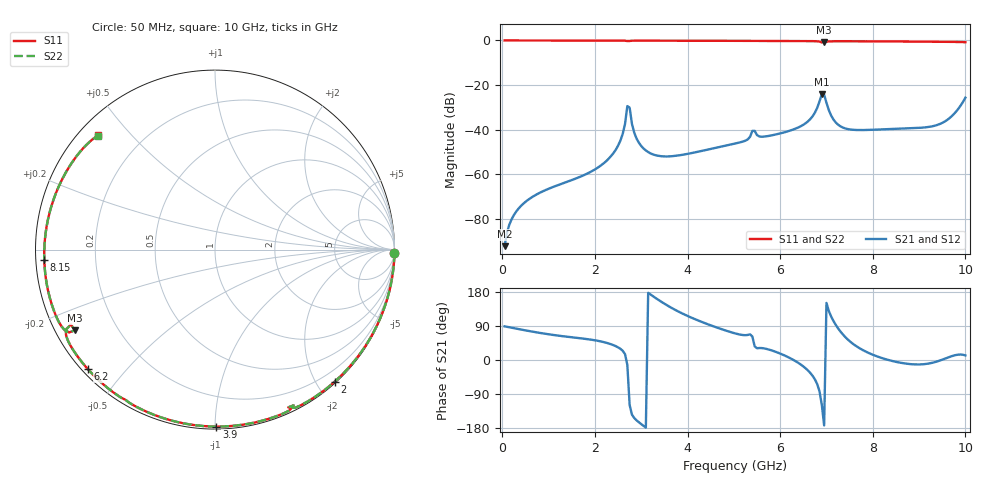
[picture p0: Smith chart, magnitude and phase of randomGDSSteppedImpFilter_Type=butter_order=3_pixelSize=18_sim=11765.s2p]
! freq	dB(S11)	phase(S11)	dB(S12)	phase(S12)
!  dB(S21)	phase(S21)	dB(S22)	phase(S22)
!S-par simulation data
#  GHz  S  DB  R 50
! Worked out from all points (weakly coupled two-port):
!   200 points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, 50 MHz to 10 GHz, reference 50 ohm
!   highest |S21| = -24.11 dB at 6.9 GHz (marker M1); lowest = -92.4 dB at 50 MHz (marker M2)
!   lowest |S11| = -0.9 dB at 6.95 GHz (marker M3), VSWR 19.13, Z = 2.8 - j13.3 ohm
!   |S11| at or under -10 dB: nowhere
!   |S22| runs from -0.9 to 0.0 dB; largest |S21 - S12| = 0
!   S11 on the Smith chart (normalised r, x): 50 MHz: 0, -94; 2 GHz: 0.02, -2.26; 3.9 GHz: 0.01, -1.01; 6.2 GHz: 0.02, -0.40; 8.15 GHz: 0.02, -0.03; 10 GHz: 0.05, +0.41
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0.05  -0.00 -1.2  -92.37 88.8  -92.37 88.8  -0.00 -1.2
0.75  -0.02 -18.2  -69.04 72.7  -69.04 72.7  -0.02 -18.2
1.75  -0.05 -42.0  -60.59 56.4  -60.59 56.4  -0.05 -41.9
2  -0.06 -47.8  -57.92 52.1  -57.92 52.1  -0.06 -47.8
2.5  -0.08 -59.3  -47.22 33.4  -47.22 33.4  -0.08 -59.3
2.6  -0.09 -61.8  -41.97 24.4  -41.97 24.4  -0.09 -61.8
2.7  -0.27 -65.1  -29.47 -13.0  -29.47 -13.0  -0.27 -65.1
2.95  -0.09 -68.8  -45.94 -164.5  -45.94 -164.5  -0.09 -68.8
3.4  -0.10 -78.8  -51.89 156.3  -51.89 156.3  -0.10 -78.8
3.9  -0.12 -89.6  -51.31 122.0  -51.31 122.0  -0.12 -89.5
5.05  -0.17 -113.4  -46.17 69.5  -46.17 69.5  -0.17 -113.4
5.4  -0.22 -120.6  -40.61 62.0  -40.61 62.0  -0.22 -120.5
6.2  -0.24 -136.7  -40.58 5.8  -40.58 5.8  -0.24 -136.7
6.7  -0.31 -147.5  -34.06 -41.7  -34.06 -41.7  -0.31 -147.5
6.9  -0.87 -152.5  -24.11 -118.7  -24.11 -118.7  -0.87 -152.5
6.95  -0.91 -150.1  -24.33 -172.7  -24.33 -172.7  -0.91 -150.0
7.1  -0.39 -153.3  -33.67 115.1  -33.67 115.1  -0.39 -153.2
7.3  -0.35 -158.0  -38.53 75.5  -38.53 75.5  -0.35 -158.0
8.15  -0.42 -176.6  -39.97 7.0  -39.97 7.0  -0.42 -176.6
8.35  -0.44 178.9  -39.80 -0.4  -39.80 -0.4  -0.44 179.0
9.45  -0.58 152.4  -37.49 -1.3  -37.49 -1.3  -0.58 152.4
10  -0.81 135.7  -25.70 12.0  -25.70 12.0  -0.81 135.7
